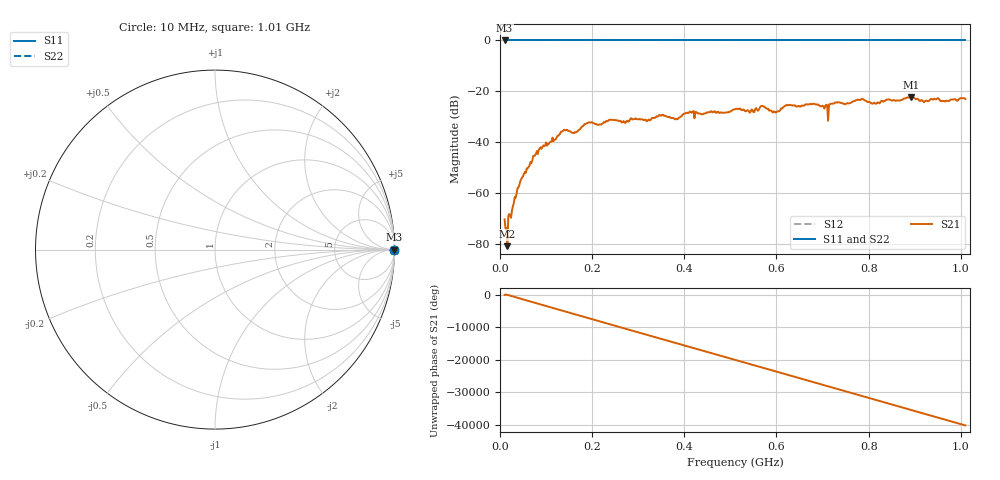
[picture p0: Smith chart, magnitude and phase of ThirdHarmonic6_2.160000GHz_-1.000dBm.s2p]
! 8/17/2025 1:47:09 AM
! C:\ANRITSUVNA\TEMP\TEMP.S2P
! CHANNEL.1
! TR.MEASUREMENT
! RAW.DATA
! RF.CORRECTION.OFF
! AVERAGING.OFF
! IF.BANDWIDTH: 5KHZ
! SWEEPTYPE:  FREQ.SWEEP(Linear)
! Reference Plane Port Info
! PORT:  PORT1  PORT2
! DISTANCE:  0  m  0  m
! TIME:  0  s  0  s
! PHASE.OFFSET:  0  deg.  0  deg.
! LOSS:  0  dB  0  dB
! REF.LOSS:  0  dB  0  dB
! REF.FREQ:  0  Hz  0  Hz
! Power Info
! POWER:  -20  dBm  -20  dBm
! EFF.POWER:  -20  dBm  -20  dBm
! SOURCE.ATTEN:  0  dB  0  dB
! TEST.ATTEN:  0  dB  0  dB
# GHZ S RI R 50.0
! FREQ.GHZ  S11RE  S11IM  S21RE  S21IM  S12RE  S12IM  S22RE  S22IM
!; PortSelection: Port_12
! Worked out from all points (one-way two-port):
!   501 points, 10 MHz to 1.01 GHz, reference 50 ohm
!   highest |S21| = -22.25 dB at 892 MHz (marker M1); lowest = -80.9 dB at 16 MHz (marker M2)
!   lowest |S11| = 0.0 dB at 10 MHz (marker M3)
!   |S11| at or under -10 dB: nowhere
!   |S22| runs from 0.0 to 0.0 dB; largest |S21 - S12| = 1.1
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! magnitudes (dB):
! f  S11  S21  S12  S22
! 10 MHz  0.0  -70.4  0.0  0.0
! 12 MHz  0.0  -74.0  0.0  0.0
! 16 MHz  0.0  -80.9  0.0  0.0
! 42 MHz  0.0  -56.8  0.0  0.0
! 76 MHz  0.0  -45.3  0.0  0.0
! 136 MHz  0.0  -35.7  0.0  0.0
! 162 MHz  0.0  -36.1  0.0  0.0
! 178 MHz  0.0  -33.9  0.0  0.0
! 344 MHz  0.0  -29.7  0.0  0.0
! 382 MHz  0.0  -30.8  0.0  0.0
! 416 MHz  0.0  -28.4  0.0  0.0
! 510 MHz  0.0  -27.1  0.0  0.0
! 546 MHz  0.0  -27.1  0.0  0.0
! 570 MHz  0.0  -25.7  0.0  0.0
! 596 MHz  0.0  -28.0  0.0  0.0
! 624 MHz  0.0  -25.5  0.0  0.0
! 678 MHz  0.0  -25.0  0.0  0.0
! 708 MHz  0.0  -25.3  0.0  0.0
! 732 MHz  0.0  -24.4  0.0  0.0
! 844 MHz  0.0  -23.2  0.0  0.0
! 892 MHz  0.0  -22.3  0.0  0.0
! 1.01 GHz  0.0  -23.0  0.0  0.0
